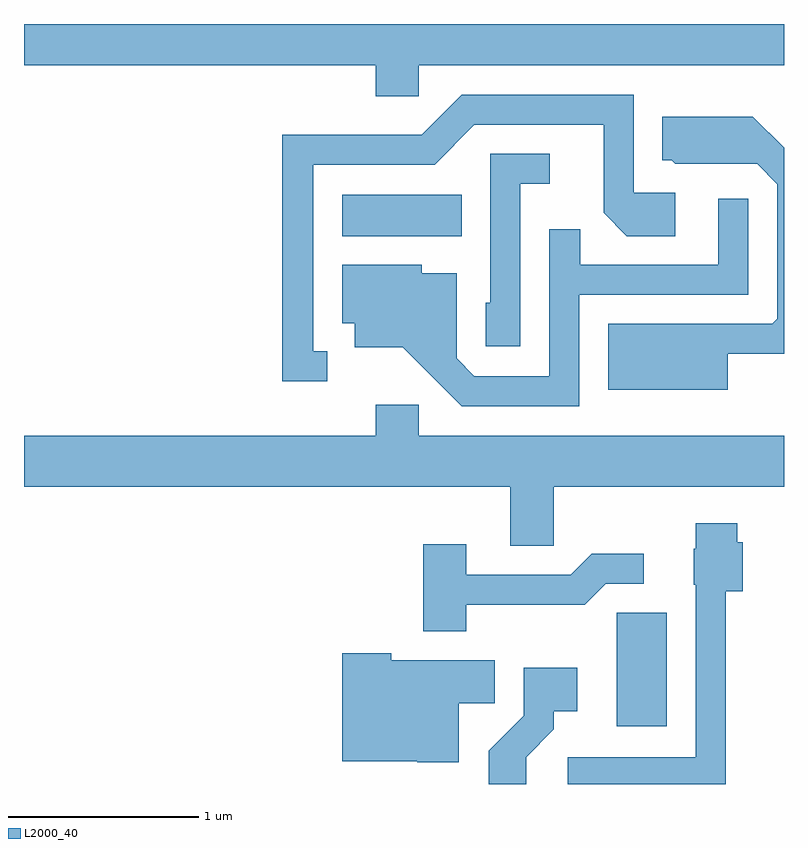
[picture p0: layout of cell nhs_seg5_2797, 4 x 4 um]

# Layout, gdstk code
import gdstk
lib = gdstk.Library(unit=1e-6, precision=1e-09)
def R(c, l, rs):  # rectangles x0, y0, x1, y1
    for r in rs: c.add(gdstk.rectangle(r[:2], r[2:], *l))
def P(c, l, *ps):  # polygons
    for p in ps: c.add(gdstk.Polygon(p, *l))
L2000_40 = (2000, 40)

nhs_seg5_2797 = lib.new_cell('nhs_seg5_2797')
R(nhs_seg5_2797, L2000_40, [(270.731,1504.376,270.994,1504.974), (269.286,1506.956,269.914,1507.174)])
P(nhs_seg5_2797, L2000_40, [(269.689,1507.856),(271.611,1507.856),(271.611,1508.072),(267.611,1508.072),(267.611,1507.856),(269.461,1507.856),(269.461,1507.691),(269.689,1507.691)],
  [(269.208,1506.349),(269.134,1506.349),(269.134,1507.331),(269.772,1507.331),(269.982,1507.541),(270.661,1507.541),(270.661,1507.079),(270.784,1506.956),(271.039,1506.956),(271.039,1507.184),(270.819,1507.184),(270.819,1507.699),(269.914,1507.699),(269.704,1507.489),(268.971,1507.489),(268.971,1506.191),(269.208,1506.191)],
  [(271.314,1506.336),(271.611,1506.336),(271.611,1507.42),(271.447,1507.584),(270.971,1507.584),(270.971,1507.356),(271.019,1507.356),(271.039,1507.336),(271.469,1507.336),(271.576,1507.229),(271.576,1506.522),(271.549,1506.494),(270.686,1506.494),(270.686,1506.146),(271.314,1506.146)],
  [(270.224,1507.231),(270.378,1507.231),(270.378,1507.389),(270.066,1507.389),(270.066,1506.604),(270.041,1506.604),(270.041,1506.376),(270.224,1506.376)],
  [(270.534,1506.646),(271.424,1506.646),(271.424,1507.153),(271.266,1507.153),(271.266,1506.804),(270.539,1506.804),(270.539,1506.993),(270.376,1506.993),(270.376,1506.219),(269.982,1506.219),(269.889,1506.312),(269.889,1506.759),(269.704,1506.759),(269.704,1506.804),(269.286,1506.804),(269.286,1506.496),(269.351,1506.496),(269.351,1506.371),(269.604,1506.371),(269.914,1506.061),(270.534,1506.061)],
  [(270.399,1505.636),(271.611,1505.636),(271.611,1505.904),(269.689,1505.904),(269.689,1506.069),(269.461,1506.069),(269.461,1505.904),(267.611,1505.904),(267.611,1505.636),(270.171,1505.636),(270.171,1505.326),(270.399,1505.326)],
  [(271.304,1505.086),(271.394,1505.086),(271.394,1505.344),(271.364,1505.344),(271.364,1505.444),(271.146,1505.444),(271.146,1505.31),(271.136,1505.31),(271.136,1505.12),(271.146,1505.12),(271.146,1504.214),(270.473,1504.214),(270.473,1504.072),(271.304,1504.072)],
  [(269.939,1505.016),(270.562,1505.016),(270.672,1505.126),(270.873,1505.126),(270.873,1505.284),(270.599,1505.284),(270.489,1505.174),(269.939,1505.174),(269.939,1505.334),(269.711,1505.334),(269.711,1504.876),(269.939,1504.876)],
  [(269.899,1504.496),(270.089,1504.496),(270.089,1504.724),(269.544,1504.724),(269.544,1504.759),(269.286,1504.759),(269.286,1504.191),(269.68,1504.191),(269.68,1504.186),(269.899,1504.186)],
  [(270.254,1504.214),(270.399,1504.359),(270.399,1504.456),(270.524,1504.456),(270.524,1504.684),(270.241,1504.684),(270.241,1504.432),(270.056,1504.247),(270.056,1504.072),(270.254,1504.072)])

lib.write_gds('nhs_seg5_2797.gds')
